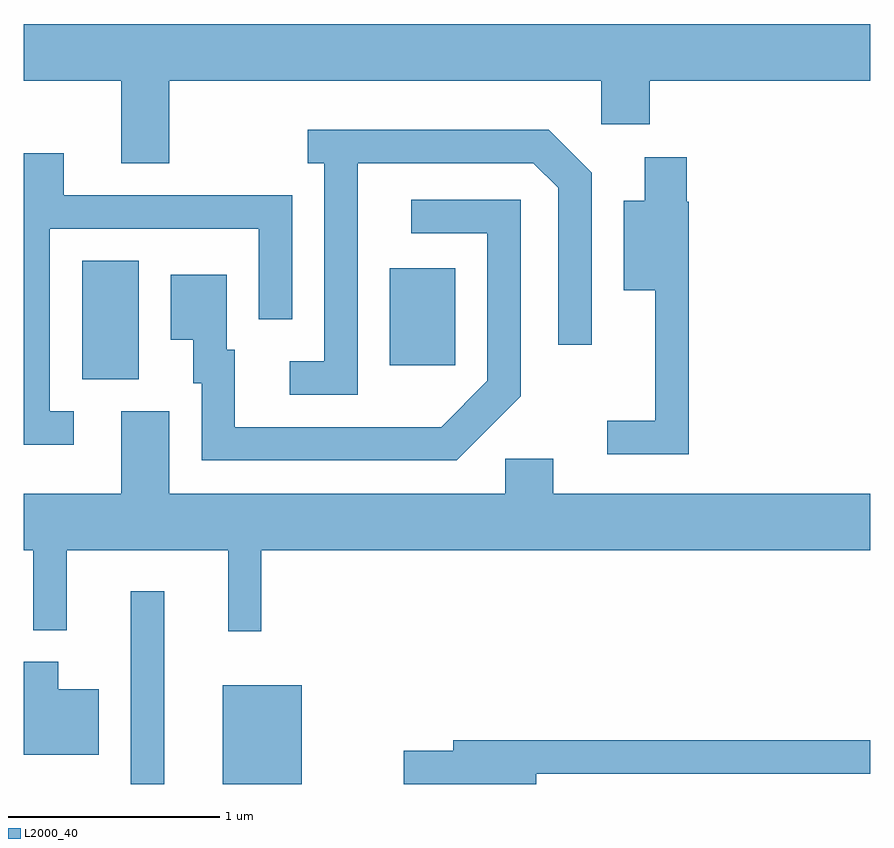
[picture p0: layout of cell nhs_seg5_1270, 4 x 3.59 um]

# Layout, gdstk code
import gdstk
lib = gdstk.Library(unit=1e-6, precision=1e-09)
def R(c, l, rs):  # rectangles x0, y0, x1, y1
    for r in rs: c.add(gdstk.rectangle(r[:2], r[2:], *l))
def P(c, l, *ps):  # polygons
    for p in ps: c.add(gdstk.Polygon(p, *l))
L2000_40 = (2000, 40)

nhs_seg5_1270 = lib.new_cell('nhs_seg5_1270')
R(nhs_seg5_1270, L2000_40, [(222.116,1520.072,222.274,1520.983), (222.551,1520.072,222.924,1520.539), (221.886,1521.986,222.154,1522.544), (223.341,1522.051,223.649,1522.509)])
P(nhs_seg5_1270, L2000_40, [(222.299,1523.396),(224.341,1523.396),(224.341,1523.191),(224.569,1523.191),(224.569,1523.396),(225.611,1523.396),(225.611,1523.664),(221.611,1523.664),(221.611,1523.396),(222.071,1523.396),(222.071,1523.006),(222.299,1523.006)],
  [(223.189,1523.006),(224.019,1523.006),(224.136,1522.889),(224.136,1522.148),(224.294,1522.148),(224.294,1522.962),(224.092,1523.164),(222.953,1523.164),(222.953,1523.006),(223.031,1523.006),(223.031,1522.069),(222.868,1522.069),(222.868,1521.911),(223.189,1521.911)],
  [(221.848,1521.834),(221.734,1521.834),(221.734,1522.696),(222.721,1522.696),(222.721,1522.268),(222.879,1522.268),(222.879,1522.854),(221.799,1522.854),(221.799,1523.054),(221.611,1523.054),(221.611,1521.676),(221.848,1521.676)],
  [(224.754,1522.825),(224.744,1522.825),(224.744,1523.034),(224.546,1523.034),(224.546,1522.829),(224.446,1522.829),(224.446,1522.406),(224.596,1522.406),(224.596,1521.789),(224.368,1521.789),(224.368,1521.631),(224.754,1521.631)],
  [(223.959,1521.904),(223.959,1522.834),(223.443,1522.834),(223.443,1522.676),(223.801,1522.676),(223.801,1521.977),(223.584,1521.759),(222.609,1521.759),(222.609,1522.124),(222.569,1522.124),(222.569,1522.479),(222.306,1522.479),(222.306,1522.171),(222.411,1522.171),(222.411,1521.966),(222.451,1521.966),(222.451,1521.601),(223.657,1521.601)],
  [(222.734,1521.176),(225.611,1521.176),(225.611,1521.444),(224.114,1521.444),(224.114,1521.609),(223.886,1521.609),(223.886,1521.444),(222.299,1521.444),(222.299,1521.834),(222.071,1521.834),(222.071,1521.444),(221.611,1521.444),(221.611,1521.176),(221.656,1521.176),(221.656,1520.798),(221.814,1520.798),(221.814,1521.176),(222.576,1521.176),(222.576,1520.793),(222.734,1520.793)],
  [(221.964,1520.519),(221.774,1520.519),(221.774,1520.649),(221.611,1520.649),(221.611,1520.211),(221.964,1520.211)],
  [(224.034,1520.121),(225.611,1520.121),(225.611,1520.279),(223.641,1520.279),(223.641,1520.229),(223.406,1520.229),(223.406,1520.072),(224.034,1520.072)])

lib.write_gds('nhs_seg5_1270.gds')
